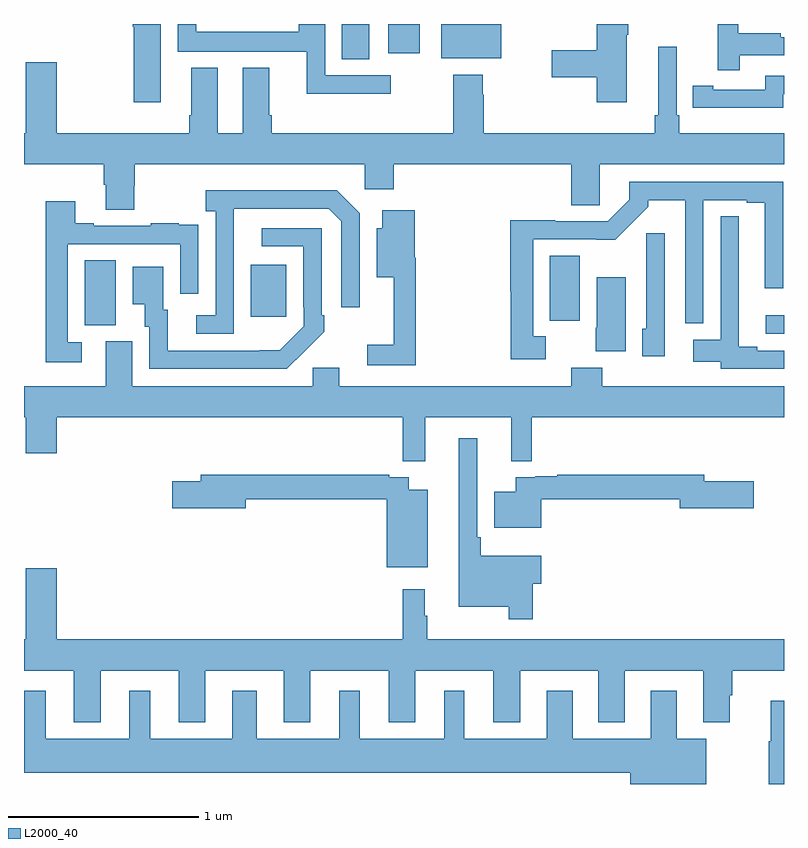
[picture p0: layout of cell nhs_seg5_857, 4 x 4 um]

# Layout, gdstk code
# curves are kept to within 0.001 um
import gdstk
lib = gdstk.Library(unit=1e-6, precision=1e-09)
def R(c, l, rs):  # rectangles x0, y0, x1, y1
    for r in rs: c.add(gdstk.rectangle(r[:2], r[2:], *l))
def P(c, l, *ps):  # polygons
    for p in ps: c.add(gdstk.Polygon(p, *l))
L2000_40 = (2000, 40)

nhs_seg5_857 = lib.new_cell('nhs_seg5_857')
R(nhs_seg5_857, L2000_40, [(168.903,889.17,169,889.265), (165.32,889.213,165.484,889.556), (167.768,889.236,167.926,889.58), (166.193,889.257,166.381,889.531), (166.673,890.614,166.816,890.799), (167.195,890.618,167.513,890.799), (166.916,890.646,167.083,890.799)])
P(nhs_seg5_857, L2000_40, [(168.767,890.634),(169,890.634),(169,890.73),(168.983,890.73),(168.983,890.75),(168.76,890.75),(168.76,890.799),(168.65,890.799),(168.65,890.556),(168.767,890.556)],
  [(168.172,890.743),(168.18,890.743),(168.18,890.799),(168.014,890.799),(168.014,890.66),(167.778,890.66),(167.778,890.518),(168.014,890.518),(168.014,890.388),(168.172,890.388)],
  [(165.721,890.799),(165.572,890.799),(165.572,890.785),(165.577,890.785),(165.577,890.388),(165.721,890.388)],
  [(166.93,890.529),(166.585,890.529),(166.585,890.799),(166.445,890.799),(166.445,890.758),(165.906,890.758),(165.906,890.799),(165.81,890.799),(165.81,890.654),(166.487,890.654),(166.487,890.432),(166.93,890.432)],
  [(165.579,889.947),(165.584,889.947),(165.584,890.06),(166.794,890.06),(166.794,889.929),(166.946,889.929),(166.946,890.06),(167.879,890.06),(167.879,889.846),(168.03,889.846),(168.03,890.06),(169,890.06),(169,890.224),(168.449,890.224),(168.449,890.32),(168.435,890.32),(168.435,890.68),(168.338,890.68),(168.338,890.32),(168.319,890.32),(168.319,890.224),(167.42,890.224),(167.42,890.426),(167.415,890.426),(167.415,890.533),(167.26,890.533),(167.26,890.224),(166.304,890.224),(166.304,890.32),(166.291,890.32),(166.291,890.569),(166.151,890.569),(166.151,890.224),(166.021,890.224),(166.021,890.569),(165.881,890.569),(165.881,890.32),(165.869,890.32),(165.869,890.224),(165.172,890.224),(165.172,890.599),(165.008,890.599),(165.008,890.224),(165,890.224),(165,890.06),(165.419,890.06),(165.419,889.954),(165.431,889.954),(165.431,889.822),(165.579,889.822)],
  [(168.996,890.43),(169,890.43),(169,890.526),(168.9,890.526),(168.9,890.454),(168.628,890.454),(168.628,890.474),(168.52,890.474),(168.52,890.358),(168.628,890.358),(168.628,890.357),(168.996,890.357)],
  [(167.746,889.155),(167.679,889.155),(167.679,889.665),(168.112,889.664),(168.286,889.837),(168.286,889.871),(168.48,889.871),(168.48,889.223),(168.576,889.223),(168.576,889.872),(168.803,889.872),(168.803,889.857),(168.899,889.857),(168.899,889.407),(168.996,889.407),(168.996,889.968),(168.186,889.968),(168.186,889.875),(168.072,889.761),(167.795,889.761),(167.795,889.766),(167.559,889.766),(167.559,889.392),(167.563,889.392),(167.563,889.035),(167.746,889.035)],
  [(166.104,889.627),(166.105,889.827),(166.605,889.827),(166.671,889.761),(166.671,889.308),(166.767,889.308),(166.767,889.803),(166.646,889.924),(165.957,889.924),(165.957,889.814),(166.008,889.814),(166.008,889.266),(165.906,889.266),(165.906,889.17),(166.104,889.17)],
  [(165.304,889.125),(165.231,889.125),(165.231,889.641),(165.822,889.641),(165.822,889.38),(165.918,889.38),(165.918,889.634),(165.917,889.634),(165.917,889.743),(165.815,889.743),(165.815,889.75),(165.667,889.75),(165.667,889.737),(165.367,889.737),(165.367,889.75),(165.271,889.75),(165.271,889.867),(165.115,889.867),(165.115,889.02),(165.304,889.02)],
  [(167.063,889.57),(167.057,889.57),(167.057,889.819),(166.886,889.819),(166.886,889.723),(166.856,889.723),(166.856,889.466),(166.946,889.466),(166.946,889.111),(166.806,889.111),(166.806,889.002),(167.063,889.002)],
  [(169,889.08),(168.859,889.08),(168.859,889.1),(168.763,889.1),(168.763,889.679),(168.762,889.679),(168.762,889.787),(168.666,889.787),(168.666,889.138),(168.522,889.138),(168.522,889.022),(168.666,889.022),(168.666,888.984),(169,888.984)],
  [(166.475,889.075),(166.476,889.074),(166.581,889.179),(166.581,889.267),(166.566,889.267),(166.566,889.725),(166.251,889.725),(166.251,889.629),(166.47,889.629),(166.47,889.309),(166.473,889.309),(166.473,889.209),(166.345,889.081),(165.757,889.08),(165.757,889.296),(165.733,889.296),(165.733,889.522),(165.572,889.522),(165.572,889.325),(165.635,889.325),(165.635,889.206),(165.66,889.206),(165.66,888.984),(166.384,888.984)],
  [(168.372,889.699),(168.276,889.699),(168.276,889.194),(168.254,889.194),(168.254,889.05),(168.372,889.05)],
  [(168.166,889.465),(168.014,889.465),(168.014,889.2),(168.008,889.2),(168.008,889.076),(168.166,889.076)],
  [(167.111,888.728),(167.564,888.728),(167.564,888.499),(167.672,888.499),(167.672,888.728),(169,888.728),(169,888.892),(168.044,888.892),(168.044,888.991),(167.879,888.991),(167.879,888.892),(166.66,888.892),(166.66,888.99),(166.521,888.99),(166.521,888.892),(165.571,888.892),(165.571,889.128),(165.431,889.128),(165.431,888.892),(165,888.892),(165,888.728),(165.008,888.728),(165.008,888.54),(165.172,888.54),(165.172,888.728),(166.993,888.728),(166.993,888.499),(167.111,888.499)],
  [(167.678,887.854),(167.722,887.854),(167.722,888.001),(167.405,888.001),(167.405,888.097),(167.385,888.097),(167.385,888.619),(167.288,888.619),(167.288,887.732),(167.55,887.732),(167.55,887.667),(167.678,887.667)],
  [(167.723,888.298),(168.452,888.298),(168.452,888.251),(168.841,888.251),(168.841,888.393),(168.58,888.393),(168.58,888.427),(167.806,888.427),(167.806,888.42),(167.692,888.42),(167.692,888.414),(167.588,888.414),(167.588,888.337),(167.474,888.337),(167.474,888.149),(167.723,888.149)],
  [(167.125,888.349),(167.026,888.349),(167.026,888.414),(166.922,888.414),(166.922,888.427),(165.929,888.427),(165.929,888.393),(165.78,888.393),(165.78,888.251),(166.168,888.251),(166.168,888.298),(166.91,888.298),(166.91,887.939),(167.125,887.939)],
  [(165.403,887.396),(165.815,887.396),(165.815,887.123),(165.955,887.123),(165.955,887.396),(166.367,887.396),(166.367,887.123),(166.507,887.123),(166.507,887.396),(166.919,887.396),(166.919,887.123),(167.059,887.123),(167.059,887.396),(167.471,887.396),(167.471,887.123),(167.611,887.123),(167.611,887.396),(168.023,887.396),(168.023,887.123),(168.163,887.123),(168.163,887.396),(168.575,887.396),(168.575,887.123),(168.715,887.123),(168.715,887.265),(168.728,887.265),(168.728,887.396),(169,887.396),(169,887.56),(167.122,887.56),(167.122,887.684),(167.11,887.684),(167.11,887.824),(166.993,887.824),(166.993,887.56),(165.172,887.56),(165.172,887.935),(165.008,887.935),(165.008,887.56),(165,887.56),(165,887.396),(165.263,887.396),(165.263,887.123),(165.403,887.123)],
  [(168.592,887.038),(168.436,887.038),(168.436,887.29),(168.299,887.29),(168.299,887.038),(167.887,887.038),(167.887,887.29),(167.75,887.29),(167.75,887.038),(167.317,887.038),(167.317,887.29),(167.213,887.29),(167.213,887.038),(166.768,887.038),(166.768,887.29),(166.658,887.29),(166.658,887.038),(166.225,887.038),(166.225,887.29),(166.097,887.29),(166.097,887.038),(165.664,887.038),(165.664,887.29),(165.554,887.29),(165.554,887.038),(165.115,887.038),(165.115,887.29),(165,887.29),(165,886.859),(168.191,886.859),(168.191,886.799),(168.592,886.799)],
  [(169,887.236),(168.929,887.236),(168.929,887.023),(168.919,887.023),(168.919,886.799),(169,886.799)])

lib.write_gds('nhs_seg5_857.gds')
